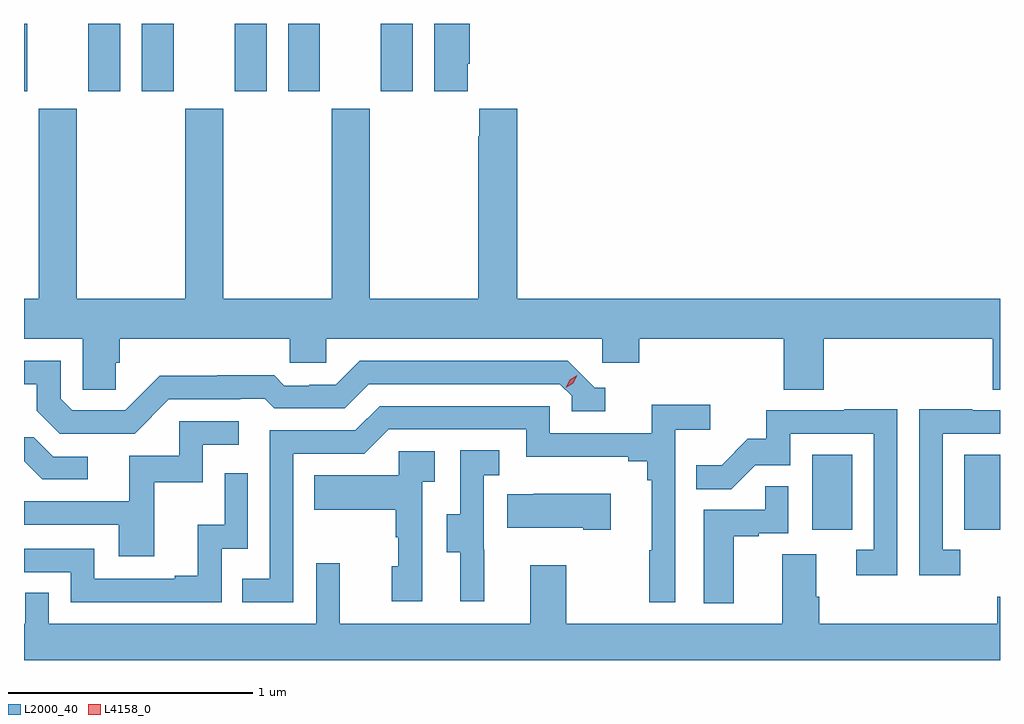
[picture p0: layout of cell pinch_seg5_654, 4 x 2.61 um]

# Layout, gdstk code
import gdstk
lib = gdstk.Library(unit=1e-6, precision=1e-09)
def R(c, l, rs):  # rectangles x0, y0, x1, y1
    for r in rs: c.add(gdstk.rectangle(r[:2], r[2:], *l))
def P(c, l, *ps):  # polygons
    for p in ps: c.add(gdstk.Polygon(p, *l))
L2000_40 = (2000, 40)
L4158_0 = (4158, 0)

pinch_seg5_654 = lib.new_cell('pinch_seg5_654')
R(pinch_seg5_654, L2000_40, [(1074.674,833.334,1074.838,833.641), (1075.298,833.334,1075.444,833.641), (1071.444,835.131,1071.457,835.408), (1071.707,835.131,1071.838,835.408), (1071.926,835.131,1072.057,835.408), (1072.307,835.131,1072.438,835.408), (1072.526,835.131,1072.657,835.408), (1072.907,835.131,1073.038,835.408)])
P(pinch_seg5_654, L2000_40, [(1073.263,835.243),(1073.27,835.243),(1073.27,835.408),(1073.126,835.408),(1073.126,835.131),(1073.263,835.131)],
  [(1071.821,834.018),(1071.836,834.018),(1071.836,834.116),(1072.533,834.116),(1072.533,834.018),(1072.683,834.018),(1072.683,834.116),(1073.814,834.116),(1073.814,834.018),(1073.966,834.018),(1073.966,834.116),(1074.557,834.116),(1074.557,833.908),(1074.722,833.908),(1074.722,834.116),(1075.415,834.116),(1075.415,833.908),(1075.444,833.908),(1075.444,834.28),(1073.465,834.28),(1073.465,835.06),(1073.309,835.06),(1073.309,834.947),(1073.305,834.947),(1073.305,834.28),(1072.86,834.28),(1072.86,835.06),(1072.705,835.06),(1072.705,834.28),(1072.26,834.28),(1072.26,835.06),(1072.105,835.06),(1072.105,834.28),(1071.66,834.28),(1071.66,835.06),(1071.505,835.06),(1071.505,834.28),(1071.444,834.28),(1071.444,834.116),(1071.684,834.116),(1071.684,833.908),(1071.821,833.908)],
  [(1072.038,833.868),(1072.331,833.868),(1072.331,833.871),(1072.43,833.871),(1072.469,833.832),(1072.758,833.832),(1072.857,833.931),(1073.64,833.931),(1073.688,833.883),(1073.688,833.82),(1073.827,833.82),(1073.827,833.916),(1073.784,833.916),(1073.673,834.027),(1072.82,834.027),(1072.721,833.928),(1072.614,833.928),(1072.614,833.925),(1072.511,833.925),(1072.469,833.968),(1072.236,833.968),(1072.236,833.965),(1072,833.965),(1071.858,833.823),(1071.642,833.823),(1071.594,833.871),(1071.594,834.027),(1071.444,834.027),(1071.444,833.931),(1071.497,833.931),(1071.497,833.821),(1071.591,833.727),(1071.897,833.727)],
  [(1072.548,833.646),(1072.839,833.646),(1072.938,833.745),(1073.502,833.745),(1073.502,833.633),(1073.921,833.633),(1073.921,833.614),(1073.998,833.614),(1073.998,833.537),(1074.017,833.537),(1074.017,833.249),(1074.006,833.249),(1074.006,833.037),(1074.114,833.037),(1074.114,833.744),(1074.256,833.744),(1074.256,833.846),(1074.017,833.846),(1074.017,833.73),(1073.598,833.73),(1073.598,833.841),(1072.901,833.841),(1072.802,833.742),(1072.452,833.742),(1072.452,833.133),(1072.339,833.133),(1072.339,833.037),(1072.548,833.037)],
  [(1075.023,833.828),(1074.805,833.828),(1074.805,833.823),(1074.487,833.823),(1074.487,833.706),(1074.41,833.706),(1074.303,833.599),(1074.199,833.599),(1074.199,833.5),(1074.342,833.5),(1074.44,833.598),(1074.585,833.598),(1074.585,833.727),(1074.927,833.727),(1074.927,833.253),(1074.855,833.253),(1074.855,833.148),(1075.023,833.148)],
  [(1075.282,833.253),(1075.209,833.253),(1075.209,833.727),(1075.444,833.727),(1075.444,833.823),(1075.331,833.823),(1075.331,833.828),(1075.113,833.828),(1075.113,833.148),(1075.282,833.148)],
  [(1071.977,833.529),(1072.176,833.529),(1072.176,833.682),(1072.324,833.682),(1072.324,833.778),(1072.08,833.778),(1072.08,833.637),(1071.875,833.637),(1071.875,833.451),(1071.444,833.451),(1071.444,833.355),(1071.833,833.355),(1071.833,833.226),(1071.977,833.226)],
  [(1071.706,833.634),(1071.564,833.634),(1071.484,833.714),(1071.444,833.714),(1071.444,833.615),(1071.518,833.541),(1071.706,833.541)],
  [(1073.33,833.253),(1073.328,833.253),(1073.328,833.557),(1073.392,833.557),(1073.392,833.66),(1073.232,833.66),(1073.232,833.397),(1073.177,833.397),(1073.177,833.242),(1073.231,833.242),(1073.231,833.04),(1073.33,833.04)],
  [(1073.076,833.531),(1073.128,833.531),(1073.128,833.655),(1072.98,833.655),(1072.98,833.557),(1072.633,833.557),(1072.633,833.417),(1072.968,833.417),(1072.968,833.303),(1072.978,833.303),(1072.978,833.184),(1072.952,833.184),(1072.952,833.04),(1073.076,833.04)],
  [(1072.254,833.256),(1072.362,833.256),(1072.362,833.566),(1072.266,833.566),(1072.266,833.354),(1072.157,833.354),(1072.157,833.146),(1072.061,833.146),(1072.061,833.133),(1071.732,833.133),(1071.732,833.256),(1071.444,833.256),(1071.444,833.16),(1071.636,833.16),(1071.636,833.037),(1072.254,833.037)],
  [(1074.352,833.307),(1074.455,833.307),(1074.455,833.319),(1074.576,833.319),(1074.576,833.513),(1074.481,833.513),(1074.481,833.415),(1074.23,833.415),(1074.23,833.033),(1074.352,833.033)],
  [(1073.848,833.482),(1073.533,833.482),(1073.533,833.479),(1073.425,833.479),(1073.425,833.342),(1073.735,833.342),(1073.735,833.335),(1073.848,833.335)],
  [(1075.444,833.06),(1075.433,833.06),(1075.433,832.948),(1074.704,832.948),(1074.704,833.06),(1074.691,833.06),(1074.691,833.234),(1074.551,833.234),(1074.551,832.948),(1073.667,832.948),(1073.667,833.188),(1073.519,833.188),(1073.519,832.948),(1072.739,832.948),(1072.739,833.197),(1072.641,833.197),(1072.641,832.948),(1071.546,832.948),(1071.546,833.075),(1071.45,833.075),(1071.45,832.948),(1071.444,832.948),(1071.444,832.799),(1075.444,832.799)])
P(pinch_seg5_654, L4158_0, [(1073.664,833.916),(1073.664,833.916),(1073.681,833.949),(1073.712,833.968),(1073.712,833.968),(1073.712,833.968),(1073.696,833.935),(1073.664,833.916)])

lib.write_gds('pinch_seg5_654.gds')
